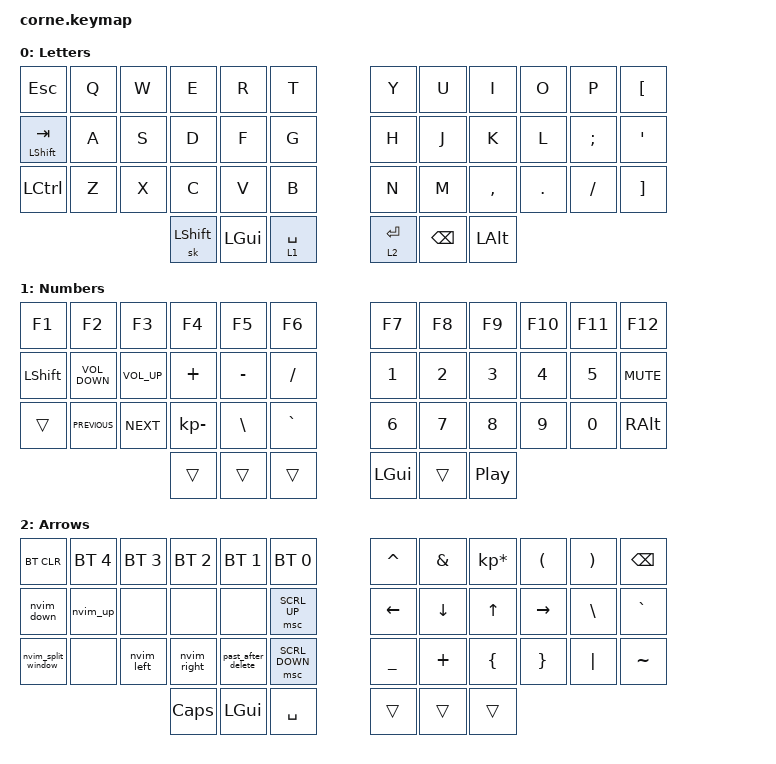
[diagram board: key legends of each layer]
/*
 * Copyright (c) 2020 The ZMK Contributors
 *
 * SPDX-License-Identifier: MIT
 */

#include <behaviors.dtsi>
#include <dt-bindings/zmk/bt.h>
#include <dt-bindings/zmk/keys.h>
#include <dt-bindings/zmk/pointing.h>

/ {
    combos {
        compatible = "zmk,combos";

        Left_par {
            bindings = <&kp LEFT_PARENTHESIS>;
            key-positions = <15 16>;
        };

        Right_par {
            bindings = <&kp RIGHT_PARENTHESIS>;
            key-positions = <19 20>;
        };

        Equal {
            bindings = <&kp EQUAL>;
            key-positions = <16 17>;
        };
    };

    macros {
        nvim_right: nvim_right {
            compatible = "zmk,behavior-macro";
            #binding-cells = <0>;
            bindings =
                <&macro_press>,
                <&kp LCTRL>,
                <&macro_tap>,
                <&kp W>,
                <&macro_release>,
                <&kp LCTRL>,
                <&macro_tap>,
                <&kp GREATER_THAN>,
                <&macro_press>,
                <&kp LCTRL>,
                <&macro_tap>,
                <&kp W>,
                <&macro_release>,
                <&kp LCTRL>,
                <&macro_tap>,
                <&kp GREATER_THAN>,
                <&macro_press>,
                <&kp LCTRL>,
                <&macro_tap>,
                <&kp W>,
                <&macro_release>,
                <&kp LCTRL>,
                <&macro_tap>,
                <&kp GREATER_THAN>,
                <&macro_press>,
                <&kp LCTRL>,
                <&macro_tap>,
                <&kp W>,
                <&macro_release>,
                <&kp LCTRL>,
                <&macro_tap>,
                <&kp GREATER_THAN>,
                <&macro_press>,
                <&kp LCTRL>,
                <&macro_tap>,
                <&kp W>,
                <&macro_release>,
                <&kp LCTRL>,
                <&macro_tap>,
                <&kp GREATER_THAN>;

            label = "NVIM_RIGHT";
        };

        nvim_left: nvim_left {
            compatible = "zmk,behavior-macro";
            #binding-cells = <0>;
            bindings =
                <&macro_press>,
                <&kp LCTRL>,
                <&macro_tap>,
                <&kp W>,
                <&macro_release>,
                <&kp LCTRL>,
                <&macro_tap>,
                <&kp LESS_THAN>,
                <&macro_press>,
                <&kp LCTRL>,
                <&macro_tap>,
                <&kp W>,
                <&macro_release>,
                <&kp LCTRL>,
                <&macro_tap>,
                <&kp LESS_THAN>,
                <&macro_press>,
                <&kp LCTRL>,
                <&macro_tap>,
                <&kp W>,
                <&macro_release>,
                <&kp LCTRL>,
                <&macro_tap>,
                <&kp LESS_THAN>,
                <&macro_press>,
                <&kp LCTRL>,
                <&macro_tap>,
                <&kp W>,
                <&macro_release>,
                <&kp LCTRL>,
                <&macro_tap>,
                <&kp LESS_THAN>,
                <&macro_press>,
                <&kp LCTRL>,
                <&macro_tap>,
                <&kp W>,
                <&macro_release>,
                <&kp LCTRL>,
                <&macro_tap>,
                <&kp LESS_THAN>;

            label = "NVIM_LEFT";
        };

        nvim_up: nvim_up {
            compatible = "zmk,behavior-macro";
            #binding-cells = <0>;
            bindings =
                <&macro_press>,
                <&kp LCTRL>,
                <&macro_tap>,
                <&kp W>,
                <&macro_release>,
                <&kp LCTRL>,
                <&macro_tap>,
                <&kp PLUS>,
                <&macro_press>,
                <&kp LCTRL>,
                <&macro_tap>,
                <&kp W>,
                <&macro_release>,
                <&kp LCTRL>,
                <&macro_tap>,
                <&kp PLUS>,
                <&macro_press>,
                <&kp LCTRL>,
                <&macro_tap>,
                <&kp W>,
                <&macro_release>,
                <&kp LCTRL>,
                <&macro_tap>,
                <&kp PLUS>,
                <&macro_press>,
                <&kp LCTRL>,
                <&macro_tap>,
                <&kp W>,
                <&macro_release>,
                <&kp LCTRL>,
                <&macro_tap>,
                <&kp PLUS>,
                <&macro_press>,
                <&kp LCTRL>,
                <&macro_tap>,
                <&kp W>,
                <&macro_release>,
                <&kp LCTRL>,
                <&macro_tap>,
                <&kp PLUS>;

            label = "NVIM_UP";
        };

        nvim_down: nvim_down {
            compatible = "zmk,behavior-macro";
            #binding-cells = <0>;
            bindings =
                <&macro_press>,
                <&kp LCTRL>,
                <&macro_tap>,
                <&kp W>,
                <&macro_release>,
                <&kp LCTRL>,
                <&macro_tap>,
                <&kp MINUS>,
                <&macro_press>,
                <&kp LCTRL>,
                <&macro_tap>,
                <&kp W>,
                <&macro_release>,
                <&kp LCTRL>,
                <&macro_tap>,
                <&kp MINUS>,
                <&macro_press>,
                <&kp LCTRL>,
                <&macro_tap>,
                <&kp W>,
                <&macro_release>,
                <&kp LCTRL>,
                <&macro_tap>,
                <&kp MINUS>,
                <&macro_press>,
                <&kp LCTRL>,
                <&macro_tap>,
                <&kp W>,
                <&macro_release>,
                <&kp LCTRL>,
                <&macro_tap>,
                <&kp MINUS>,
                <&macro_press>,
                <&kp LCTRL>,
                <&macro_tap>,
                <&kp W>,
                <&macro_release>,
                <&kp LCTRL>,
                <&macro_tap>,
                <&kp MINUS>;

            label = "NVIM_DOWN";
        };

        nvim_split_window: nvim_split_window {
            compatible = "zmk,behavior-macro";
            #binding-cells = <0>;
            bindings =
                <&macro_press>,
                <&kp LCTRL>,
                <&macro_tap>,
                <&kp W>,
                <&macro_release>,
                <&kp LCTRL>,
                <&macro_tap>,
                <&kp V>;

            label = "NVIM_SPLIT_WINDOW";
        };

        past_after_delete: past_after_delete {
            compatible = "zmk,behavior-macro";
            #binding-cells = <0>;
            bindings =
                <&kp DOUBLE_QUOTES>,
                <&macro_wait_time 50>,
                <&kp KP_NUMBER_0>,
                <&macro_wait_time 100>,
                <&kp P>;

            label = "PAST_AFTER_DELETE";
        };
    };

    keymap {
        compatible = "zmk,keymap";

        letters_layer {
            // -----------------------------------------------------------------------------------------
            // |  TAB |  Q  |  W  |  E  |  R  |  T  |   |  Y  |  U   |  I  |  O  |  P  | BKSP |
            // | CTRL |  A  |  S  |  D  |  F  |  G  |   |  H  |  J   |  K  |  L  |  ;  |  '   |
            // | SHFT |  Z  |  X  |  C  |  V  |  B  |   |  N  |  M   |  ,  |  .  |  /  | ESC  |
            //                    | GUI | LWR | SPC |   | ENT | RSE  | ALT |

            display-name = "Letters";
            bindings = <
&kp ESC             &kp Q  &kp W  &kp E           &kp R         &kp T          &kp Y        &kp U          &kp I      &kp O    &kp P     &kp LEFT_BRACKET
&mt LEFT_SHIFT TAB  &kp A  &kp S  &kp D           &kp F         &kp G          &kp H        &kp J          &kp K      &kp L    &kp SEMI  &kp SQT
&kp LCTRL           &kp Z  &kp X  &kp C           &kp V         &kp B          &kp N        &kp M          &kp COMMA  &kp DOT  &kp FSLH  &kp RIGHT_BRACKET
                                  &sk LEFT_SHIFT  &kp LEFT_GUI  &lt 1 SPACE    &lt 2 ENTER  &kp BACKSPACE  &kp LALT
            >;
        };

        numbers_layer {
            // -----------------------------------------------------------------------------------------
            // |  TAB |  1  |  2  |  3  |  4  |  5  |   |  6  |  7  |  8  |  9  |  0  | BKSP |
            // | BTCLR| BT1 | BT2 | BT3 | BT4 | BT5 |   | LFT | DWN |  UP | RGT |     |      |
            // | SHFT |     |     |     |     |     |   |     |     |     |     |     |      |
            //                    | GUI |     | SPC |   | ENT |     | ALT |

            display-name = "Numbers";
            bindings = <
&kp F1          &kp F2             &kp F3           &kp F4           &kp F5         &kp F6       &kp F7        &kp F8        &kp F9            &kp F10       &kp F11       &kp F12
&kp LEFT_SHIFT  &kp C_VOLUME_DOWN  &kp C_VOLUME_UP  &kp PLUS         &kp MINUS      &kp SLASH    &kp NUMBER_1  &kp NUMBER_2  &kp NUMBER_3      &kp NUMBER_4  &kp N5        &kp C_MUTE
&trans          &kp C_PREVIOUS     &kp C_NEXT       &kp KP_SUBTRACT  &kp BACKSLASH  &kp GRAVE    &kp NUMBER_6  &kp NUMBER_7  &kp NUMBER_8      &kp NUMBER_9  &kp NUMBER_0  &kp RALT
                                                    &trans           &trans         &trans       &kp LEFT_GUI  &trans        &kp C_PLAY_PAUSE
            >;
        };

        arrows_layer {
            // -----------------------------------------------------------------------------------------
            // |  TAB |  !  |  @  |  #  |  $  |  %  |   |  ^  |  &  |  *  |  (  |  )  | BKSP |
            // | CTRL |     |     |     |     |     |   |  -  |  =  |  [  |  ]  |  \  |  `   |
            // | SHFT |     |     |     |     |     |   |  _  |  +  |  {  |  }  | "|" |  ~   |
            //                    | GUI |     | SPC |   | ENT |     | ALT |

            display-name = "Arrows";
            bindings = <
&bt BT_CLR          &bt BT_SEL 4  &bt BT_SEL 3  &bt BT_SEL 2  &bt BT_SEL 1        &bt BT_SEL 0      &kp CARET  &kp AMPS  &kp KP_MULTIPLY  &kp LPAR   &kp RPAR  &kp BSPC
&nvim_down          &nvim_up      &none         &none         &none               &msc SCRL_UP      &kp LEFT   &kp DOWN  &kp UP           &kp RIGHT  &kp BSLH  &kp GRAVE
&nvim_split_window  &none         &nvim_left    &nvim_right   &past_after_delete  &msc SCRL_DOWN    &kp UNDER  &kp PLUS  &kp LBRC         &kp RBRC   &kp PIPE  &kp TILDE
                                                &kp CAPS      &kp LEFT_GUI        &kp SPACE         &trans     &trans    &trans
            >;
        };

        extra_1 { status = "reserved"; };

        extra_2 { status = "reserved"; };

        extra_3 { status = "reserved"; };
    };
};
